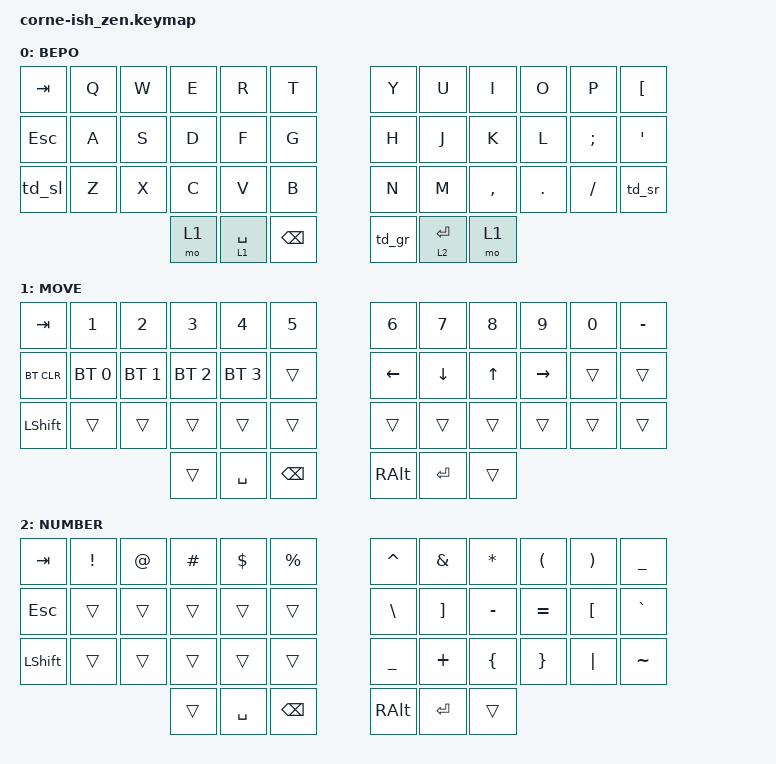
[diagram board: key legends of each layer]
/*
*
* Copyright (c) 2021 Darryl deHaan
* SPDX-License-Identifier: MIT
*
*/

#include <behaviors.dtsi>
#include <dt-bindings/zmk/keys.h>
#include <dt-bindings/zmk/bt.h>


/* Key index for combo
 0  1  2  3  4  5    6  7  8  9 10 11
12 13 14 15 16 17   18 19 20 21 22 23
24 25 26 27 28 29   30 31 32 33 34 35
         36 37 38   39 40 41     */

#define COMBO(name, keypress, keypos) \
combo_##name {                        \
	timeout-ms = <30>;            \
	bindings = <keypress>;        \
	key-positions = <keypos>;     \
};

/ {
    combos {
      compatible = "zmk,combos";
      // left hand
      COMBO(delete, &kp DELETE, 13 5)
      COMBO(enter_left, &kp RET, 13 17)
      COMBO(f5, &kp F5, 13 29)
      // right hand
      COMBO(w, &kp RBKT, 6 22)
      COMBO(back_space, &kp BSPC, 18 22)
      COMBO(windows, &kp LGUI, 30 22)
    };
  };

/ {

    behaviors {
        td_sl: tap_dance_shift_left {
            compatible = "zmk,behavior-tap-dance";
            label = "TAP_DANCE_shift_left";
            #binding-cells = <0>;
            tapping-term-ms = <200>;
            bindings = <&kp LSHIFT>, <&kp LCTRL>;
        };
        td_sr: tap_dance_shift_right {
            compatible = "zmk,behavior-tap-dance";
            label = "TAP_DANCE_shift_right";
            #binding-cells = <0>;
            tapping-term-ms = <200>;
            bindings = <&kp RSHIFT>, <&kp RCTRL>;
        };
        td_gr: tap_dance_gui_right {
            compatible = "zmk,behavior-tap-dance";
            label = "TAP_DANCE_right_alt";
            #binding-cells = <0>;
            tapping-term-ms = <200>;
            bindings = <&kp RALT>, <&kp RGUI>;
        };
    };
        keymap {
                compatible = "zmk,keymap";

                default_layer {
                        label = "BEPO";
// -----------------------------------------------------------------------------------------
// |  TAB |  B  |  É  |  P  |  O  |  È   |    |  ^  |  V   |  D  |  L  |  J  |  Z   |
// | ESC  |  A  |  U  |  I  |  E  |  ;   |    |  C  |  T   |  S  |  R  |  N  |  M   |
// | SHFT |  À  |  Y  |  X  |  :  |  K   |    |  ?  |  Q   |  G  |  H  |  F  | SHFT |
//                    | LWR | SPC&LWR | PKSP |   | ALT | ENT&RSE | LWR |
                        bindings = <
   &kp TAB   &kp Q &kp W &kp E &kp R &kp T    &kp Y &kp U  &kp I     &kp O   &kp P    &kp LBKT
   &kp ESC   &kp A &kp S &kp D &kp F &kp G    &kp H &kp J  &kp K     &kp L   &kp SEMI &kp SQT
   &td_sl    &kp Z &kp X &kp C &kp V &kp B    &kp N &kp M  &kp COMMA &kp DOT &kp FSLH &td_sr
                   &mo 1 &lt 1 SPACE &kp BSPC   &td_gr &lt 2 RET &mo 1
                        >;
                };
                lower_layer {
                        label = "MOVE";
// -----------------------------------------------------------------------------------------
// |  TAB |  "  |  «  |  »  |  (   |  )  |   |  @  |  +  |  -  |  /  |  *  |  =   |
// | BTCLR| BT1 | BT2 | BT3 | BT4  |     |   | LFT | DWN |  UP | RGT |     |      |
// | SHFT |     |     |     |      |     |   |     |     |     |     |     |      |
//                    |     | SPC | PKSP |   | ALT | ENT  |    |
                        bindings = <
   &kp TAB    &kp N1       &kp N2       &kp N3       &kp N4       &kp N5   &kp N6   &kp N7   &kp N8 &kp N9    &kp N0 &kp MINUS
   &bt BT_CLR &bt BT_SEL 0 &bt BT_SEL 1 &bt BT_SEL 2 &bt BT_SEL 3 &trans   &kp LEFT &kp DOWN &kp UP &kp RIGHT &trans &trans
   &kp LSHFT  &trans       &trans       &trans       &trans       &trans   &trans   &trans   &trans &trans    &trans &trans
                  &trans &kp SPACE &kp BSPC   &kp RALT &kp RET &trans
                        >;
                };

                raise_layer {
                        label = "NUMBER";
// -----------------------------------------------------------------------------------------
// |  TAB |  1  |  2  |  3  |  4   |  5  |   |  6  |  7  |  8  |  9  |  0  |  °   |
// | ESC  |     |     |     |      |     |   |  =  |  %  |  z  |  w  |  ç  |  $   |
// | ESC  |     |     |     |      |     |   |  ç  |  w  |  =  |  %  |  z  |  $   |
// | SHFT |     |     |     |      |     |   |  °  |  `  |  Z  |  W  |  Ç  |  #   |
//                    |     | SPC | PKSP |   | ALT | ENT  |    |
                        bindings = <
   &kp  TAB  &kp EXCL &kp AT &kp HASH &kp DLLR  &kp PRCNT &kp CARET &kp AMPS  &kp STAR &kp LPAR &kp RPAR &kp UNDER
   &kp ESC   &trans   &trans &trans   &trans    &trans    &kp BSLH &kp RBKT &kp MINUS &kp EQUAL &kp LBKT &kp GRAVE
   &kp LSHFT &trans   &trans &trans   &trans    &trans    &kp UNDER &kp PLUS  &kp LBRC &kp RBRC &kp PIPE &kp TILDE
                      &trans &kp SPACE &kp BSPC   &kp RALT &kp RET &trans
                        >;
                };
        };
};
